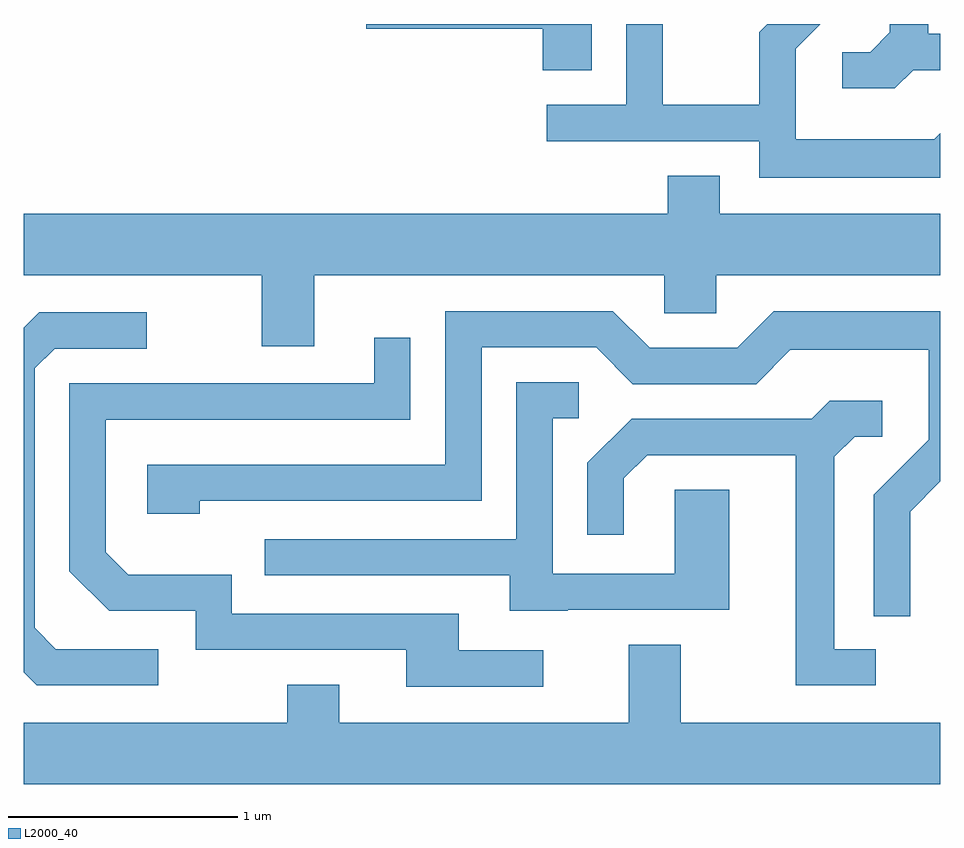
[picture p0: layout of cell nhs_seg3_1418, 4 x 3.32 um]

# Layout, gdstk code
import gdstk
lib = gdstk.Library(unit=1e-6, precision=1e-09)
def P(c, l, *ps):  # polygons
    for p in ps: c.add(gdstk.Polygon(p, *l))
L2000_40 = (2000, 40)

nhs_seg3_1418 = lib.new_cell('nhs_seg3_1418')
P(nhs_seg3_1418, L2000_40, [(228.089,1235.892),(227.106,1235.892),(227.106,1235.871),(227.876,1235.871),(227.876,1235.691),(228.089,1235.691)],
  [(229.492,1235.691),(229.611,1235.691),(229.611,1235.849),(229.559,1235.849),(229.559,1235.892),(229.391,1235.892),(229.391,1235.857),(229.304,1235.769),(229.183,1235.769),(229.183,1235.611),(229.412,1235.611)],
  [(229.611,1235.416),(229.584,1235.389),(228.979,1235.389),(228.979,1235.784),(229.087,1235.892),(228.856,1235.892),(228.821,1235.857),(228.821,1235.539),(228.399,1235.539),(228.399,1235.892),(228.241,1235.892),(228.241,1235.539),(227.893,1235.539),(227.893,1235.381),(228.821,1235.381),(228.821,1235.221),(229.611,1235.221)],
  [(226.879,1234.796),(228.406,1234.796),(228.406,1234.631),(228.634,1234.631),(228.634,1234.796),(229.611,1234.796),(229.611,1235.064),(228.649,1235.064),(228.649,1235.229),(228.421,1235.229),(228.421,1235.064),(225.611,1235.064),(225.611,1234.796),(226.651,1234.796),(226.651,1234.486),(226.879,1234.486)],
  [(229.479,1233.764),(229.611,1233.896),(229.611,1234.639),(228.884,1234.639),(228.724,1234.479),(228.342,1234.479),(228.182,1234.639),(227.451,1234.639),(227.451,1233.969),(226.151,1233.969),(226.151,1233.756),(226.379,1233.756),(226.379,1233.811),(227.609,1233.811),(227.609,1234.481),(228.109,1234.481),(228.269,1234.321),(228.807,1234.321),(228.957,1234.471),(229.561,1234.471),(229.561,1234.077),(229.321,1233.837),(229.321,1233.308),(229.479,1233.308)],
  [(226.198,1233.164),(225.752,1233.164),(225.659,1233.257),(225.659,1234.389),(225.747,1234.476),(226.148,1234.476),(226.148,1234.634),(225.679,1234.634),(225.611,1234.566),(225.611,1233.064),(225.669,1233.006),(226.198,1233.006)],
  [(227.878,1233.159),(227.509,1233.159),(227.509,1233.319),(226.519,1233.319),(226.519,1233.489),(226.067,1233.489),(225.969,1233.587),(225.969,1234.166),(227.299,1234.166),(227.299,1234.523),(227.141,1234.523),(227.141,1234.324),(225.811,1234.324),(225.811,1233.504),(225.984,1233.331),(226.361,1233.331),(226.361,1233.161),(227.281,1233.161),(227.281,1233.001),(227.878,1233.001)],
  [(227.985,1233.336),(228.689,1233.336),(228.689,1233.859),(228.451,1233.859),(228.451,1233.494),(227.919,1233.494),(227.919,1234.171),(228.033,1234.171),(228.033,1234.329),(227.761,1234.329),(227.761,1233.644),(226.663,1233.644),(226.663,1233.486),(227.731,1233.486),(227.731,1233.331),(227.985,1233.331)],
  [(229.328,1233.164),(229.149,1233.164),(229.149,1234.004),(229.237,1234.091),(229.358,1234.091),(229.358,1234.249),(229.129,1234.249),(229.049,1234.169),(228.264,1234.169),(228.071,1233.977),(228.071,1233.663),(228.229,1233.663),(228.229,1233.909),(228.332,1234.011),(228.981,1234.011),(228.981,1233.006),(229.328,1233.006)],
  [(229.611,1232.844),(228.479,1232.844),(228.479,1233.184),(228.251,1233.184),(228.251,1232.844),(226.989,1232.844),(226.989,1233.009),(226.761,1233.009),(226.761,1232.844),(225.611,1232.844),(225.611,1232.576),(229.611,1232.576)])

lib.write_gds('nhs_seg3_1418.gds')
